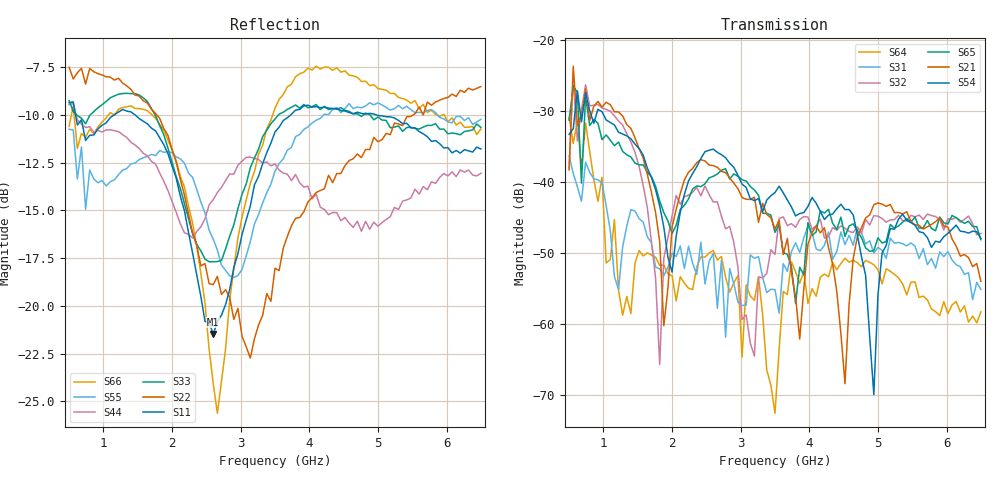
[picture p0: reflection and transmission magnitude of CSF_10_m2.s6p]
!Keysight Technologies,M9804A,MY58100912,A.14.10.03
!Date: Thursday, April 27, 2023 10:28:33
!Correction: S11(C  6-Port  )
!S12(C  6-Port  )
!S13(C  6-Port  )
!S14(C  6-Port  )
!S15(C  6-Port  )
!S16(C  6-Port  )
!S21(C  6-Port  )
!S22(C  6-Port  )
!S23(C  6-Port  )
!S24(C  6-Port  )
!S25(C  6-Port  )
!S26(C  6-Port  )
!S31(C  6-Port  )
!S32(C  6-Port  )
!S33(C  6-Port  )
!S34(C  6-Port  )
!S35(C  6-Port  )
!S36(C  6-Port  )
!S41(C  6-Port  )
!S42(C  6-Port  )
!S43(C  6-Port  )
!S44(C  6-Port  )
!S45(C  6-Port  )
!S46(C  6-Port  )
!S51(C  6-Port  )
!S52(C  6-Port  )
!S53(C  6-Port  )
!S54(C  6-Port  )
!S55(C  6-Port  )
!S56(C  6-Port  )
!S61(C  6-Port  )
!S62(C  6-Port  )
!S63(C  6-Port  )
!S64(C  6-Port  )
!S65(C  6-Port  )
!S66(C  6-Port  )
!S6P File: Measurement: :
# Hz S  RI  R 50
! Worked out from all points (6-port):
!   101 points, 500 MHz to 6.5 GHz, reference 50 ohm
!   strongest paths, dB at 500 MHz, 2 GHz, 3.5 GHz, 5 GHz, 6.5 GHz:
!     S54: -33.3, -52.7, -41.5, -55.9, -48.0
!     S21: -38.3, -46.3, -46.6, -43.0, -54.0
!     S65: -31.2, -47.3, -47.1, -47.9, -48.1
!     S32: -38.1, -44.8, -50.2, -44.8, -47.2
!     S31: -36.3, -50.0, -55.2, -49.2, -55.1
!     S64: -30.9, -53.2, -72.6, -52.4, -58.3
!   lowest |S11| = -21.5 dB at 2.6 GHz (marker M1), VSWR 1.18, Z = 42.5 + j2.33 ohm
!   |S11| at or under -10 dB: 594.3 MHz to 1.15 GHz (555.9 MHz wide, 63.7 % of centre); 1.465 GHz to 3.725 GHz (2.26 GHz wide, 87.1 % of centre); 4.983 GHz to end of sweep
